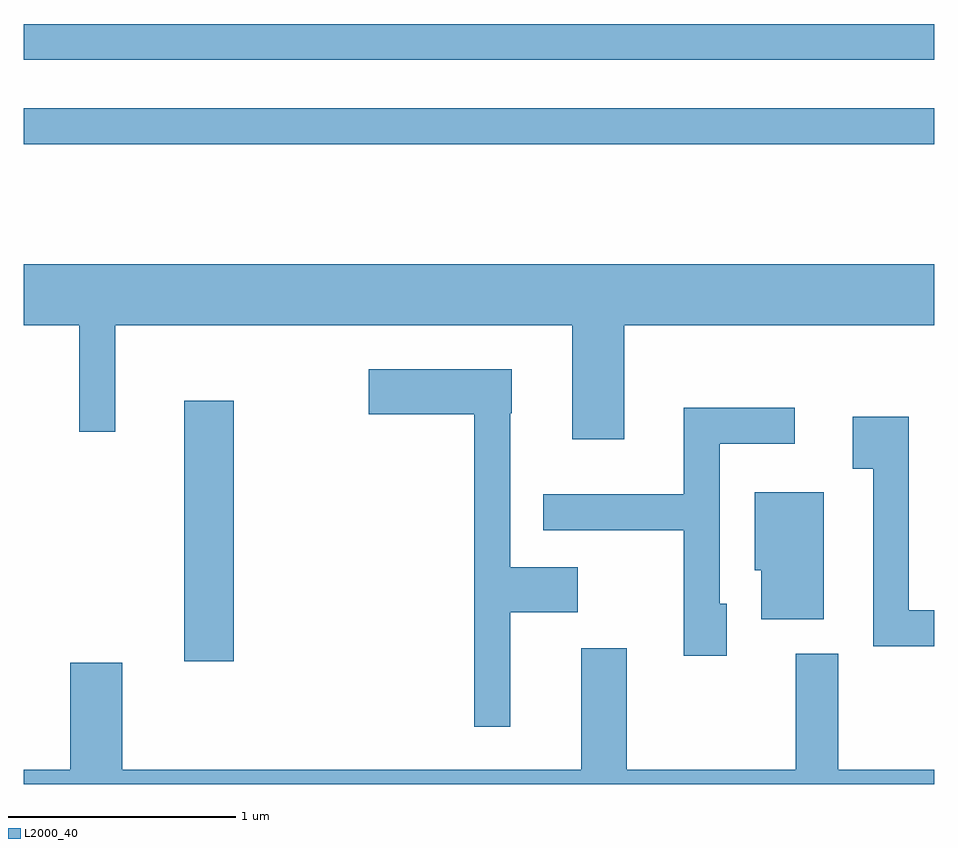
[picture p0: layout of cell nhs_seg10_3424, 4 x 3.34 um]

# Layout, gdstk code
import gdstk
lib = gdstk.Library(unit=1e-6, precision=1e-09)
def R(c, l, rs):  # rectangles x0, y0, x1, y1
    for r in rs: c.add(gdstk.rectangle(r[:2], r[2:], *l))
def P(c, l, *ps):  # polygons
    for p in ps: c.add(gdstk.Polygon(p, *l))
L2000_40 = (2000, 40)

nhs_seg10_3424 = lib.new_cell('nhs_seg10_3424')
R(nhs_seg10_3424, L2000_40, [(286.316,2159.061,286.534,2160.204), (285.611,2161.331,289.611,2161.489), (285.611,2161.701,289.611,2161.859)])
P(nhs_seg10_3424, L2000_40, [(285.611,2160.536),(285.856,2160.536),(285.856,2160.068),(286.014,2160.068),(286.014,2160.536),(288.021,2160.536),(288.021,2160.036),(288.249,2160.036),(288.249,2160.536),(289.611,2160.536),(289.611,2160.804),(285.611,2160.804)],
  [(287.749,2159.276),(288.044,2159.276),(288.044,2159.474),(287.749,2159.474),(287.749,2160.15),(287.754,2160.15),(287.754,2160.344),(287.126,2160.344),(287.126,2160.146),(287.591,2160.146),(287.591,2158.773),(287.749,2158.773)],
  [(288.699,2159.314),(288.669,2159.314),(288.669,2160.016),(288.998,2160.016),(288.998,2160.174),(288.511,2160.174),(288.511,2159.794),(287.893,2159.794),(287.893,2159.636),(288.511,2159.636),(288.511,2159.086),(288.699,2159.086)],
  [(289.611,2159.284),(289.499,2159.284),(289.499,2160.134),(289.251,2160.134),(289.251,2159.906),(289.341,2159.906),(289.341,2159.126),(289.611,2159.126)],
  [(289.124,2159.804),(288.821,2159.804),(288.821,2159.461),(288.851,2159.461),(288.851,2159.246),(289.124,2159.246)],
  [(289.611,2158.584),(289.189,2158.584),(289.189,2159.094),(289.001,2159.094),(289.001,2158.584),(288.259,2158.584),(288.259,2159.119),(288.061,2159.119),(288.061,2158.584),(286.044,2158.584),(286.044,2159.054),(285.816,2159.054),(285.816,2158.584),(285.611,2158.584),(285.611,2158.522),(289.611,2158.522)])

lib.write_gds('nhs_seg10_3424.gds')
